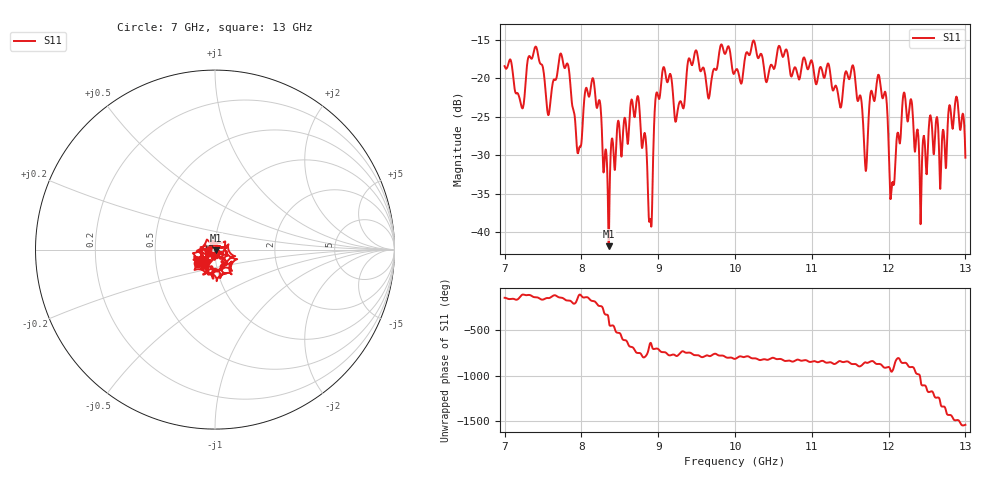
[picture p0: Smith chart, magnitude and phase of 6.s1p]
[Version] 2.0
! Rohde & Schwarz Vector Network Analyzer
! Rohde-Schwarz,ZNL20-2Port,1323001220200009,1.71.1.10-23.02.1.238
! Trace info:
! Nominal Param -> Actual Exported Buffer
! S11 -> S22
! Created: GMT+3 2024-09-24 16:37:47
# Hz S DB R 50
[Number of Ports] 1
! freq[Hz]  S11[mag dB]  S11[ang]
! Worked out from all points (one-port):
!   6001 points, 7 GHz to 13 GHz, reference 50 ohm
!   lowest |S11| = -41.8 dB at 8.355 GHz (marker M1), VSWR 1.02, Z = 50.7 - j0.342 ohm
!   |S11| at or under -10 dB: start of sweep to end of sweep
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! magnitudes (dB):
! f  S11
! 7 GHz  -18.4
! 7.229 GHz  -23.9
! 7.409 GHz  -15.9
! 7.571 GHz  -24.8
! 7.75 GHz  -17.3
! 7.966 GHz  -29.3
! 8.155 GHz  -20.1
! 8.355 GHz  -41.8
! 8.5 GHz  -27.2
! 8.736 GHz  -22.3
! 8.896 GHz  -38.4
! 8.968 GHz  -22.4
! 9.061 GHz  -18.8
! 9.25 GHz  -24.4
! 9.487 GHz  -16.4
! 9.655 GHz  -22.6
! 9.822 GHz  -15.6
! 10 GHz  -19.1
! 10.75 GHz  -19.4
! 11.5 GHz  -19.8
! 11.7 GHz  -31.9
! 11.88 GHz  -19.7
! 11.97 GHz  -22.2
! 12.04 GHz  -34.0
! 12.25 GHz  -25.6
! 12.42 GHz  -38.8
! 12.88 GHz  -22.4
! 13 GHz  -30.3
